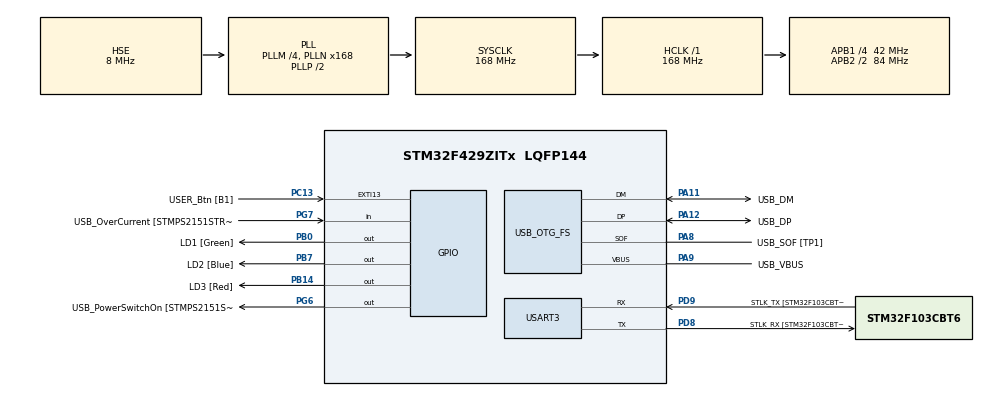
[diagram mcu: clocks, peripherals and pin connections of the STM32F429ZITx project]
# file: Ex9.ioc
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Mcu.Family=STM32F4
Mcu.Name=STM32F429ZITx
Mcu.Package=LQFP144
NVIC.OTG_FS_IRQn=true\:0\:0\:false\:false\:true\:false\:true\:true
NVIC.PriorityGroup=NVIC_PRIORITYGROUP_4
PA1.GPIO_Label=RMII_REF_CLK [LAN8742A-CZ-TR_REFCLK0]
PA1.Signal=ETH_REF_CLK
PA10.GPIO_Label=USB_ID
PA10.Signal=USB_OTG_FS_ID
PA11.GPIO_Label=USB_DM
PA11.Mode=Device_Only
PA11.Signal=USB_OTG_FS_DM
PA12.GPIO_Label=USB_DP
PA12.Mode=Device_Only
PA12.Signal=USB_OTG_FS_DP
PA13.GPIO_Label=TMS
PA13.Mode=Serial_Wire
PA13.Signal=SYS_JTMS-SWDIO
PA14.GPIO_Label=TCK
PA14.Mode=Serial_Wire
PA14.Signal=SYS_JTCK-SWCLK
PA2.GPIO_Label=RMII_MDIO [LAN8742A-CZ-TR_MDIO]
PA2.Signal=ETH_MDIO
PA7.GPIO_Label=RMII_CRS_DV [LAN8742A-CZ-TR_CRS_DV]
PA7.Signal=ETH_CRS_DV
PA8.GPIO_Label=USB_SOF [TP1]
PA8.Mode=Activate_SOF_FS
PA8.Signal=USB_OTG_FS_SOF
PA9.GPIO_Label=USB_VBUS
PA9.Mode=Activate_VBUS
PA9.Signal=USB_OTG_FS_VBUS
PB0.GPIO_Label=LD1 [Green]
PB0.Signal=GPIO_Output
PB13.GPIO_Label=RMII_TXD1 [LAN8742A-CZ-TR_TXD1]
PB13.Signal=ETH_TXD1
PB14.GPIO_Label=LD3 [Red]
PB14.Signal=GPIO_Output
PB7.GPIO_Label=LD2 [Blue]
PB7.Signal=GPIO_Output
PC1.GPIO_Label=RMII_MDC [LAN8742A-CZ-TR_MDC]
PC1.Signal=ETH_MDC
PC13.GPIO_Label=USER_Btn [B1]
PC13.Signal=GPXTI13
PC14/OSC32_IN.Mode=LSE-External-Oscillator
PC14/OSC32_IN.Signal=RCC_OSC32_IN
PC15/OSC32_OUT.Mode=LSE-External-Oscillator
PC15/OSC32_OUT.Signal=RCC_OSC32_OUT
PC4.GPIO_Label=RMII_RXD0 [LAN8742A-CZ-TR_RXD0]
PC4.Signal=ETH_RXD0
PC5.GPIO_Label=RMII_RXD1 [LAN8742A-CZ-TR_RXD1]
PC5.Signal=ETH_RXD1
PD8.GPIO_Label=STLK_RX [STM32F103CBT6_PA3]
PD8.Mode=Asynchronous
PD8.Signal=USART3_TX
PD9.GPIO_Label=STLK_TX [STM32F103CBT6_PA2]
PD9.Mode=Asynchronous
PD9.Signal=USART3_RX
PG11.GPIO_Label=RMII_TX_EN [LAN8742A-CZ-TR_TXEN]
PG11.Signal=ETH_TX_EN
PG13.GPIO_Label=RMII_TXD0 [LAN8742A-CZ-TR_TXD0]
PG13.Signal=ETH_TXD0
PG6.GPIO_Label=USB_PowerSwitchOn [STMPS2151STR_EN]
PG6.Signal=GPIO_Output
PG7.GPIO_Label=USB_OverCurrent [STMPS2151STR_FAULT]
PG7.Signal=GPIO_Input
PH0/OSC_IN.GPIO_Label=MCO [STM32F103CBT6_PA8]
PH0/OSC_IN.Mode=HSE-External-Clock-Source
PH0/OSC_IN.Signal=RCC_OSC_IN
PH1/OSC_OUT.Mode=HSE-External-Clock-Source
PH1/OSC_OUT.Signal=RCC_OSC_OUT
ProjectManager.HeapSize=0x200
ProjectManager.StackSize=0x400
ProjectManager.TargetToolchain=STM32CubeIDE
RCC.48MHZClocksFreq_Value=48000000
RCC.AHBFreq_Value=168000000
RCC.APB1CLKDivider=RCC_HCLK_DIV4
RCC.APB1Freq_Value=42000000
RCC.APB1TimFreq_Value=84000000
RCC.APB2CLKDivider=RCC_HCLK_DIV2
RCC.APB2Freq_Value=84000000
RCC.APB2TimCLKDivider=2
RCC.APB2TimFreq_Value=168000000
RCC.CortexFreq_Value=168000000
RCC.HCLKFreq_Value=168000000
RCC.HSE_VALUE=8000000
RCC.HSI_VALUE=16000000
RCC.PLLM=4
RCC.PLLMUL=RCC_PLL_MUL9
RCC.PLLN=168
RCC.PLLQ=7
RCC.PRESCALERUSB=RCC_USBCLKSOURCE_PLL_DIV1_5
RCC.SYSCLKFreq_VALUE=168000000
RCC.SYSCLKSource=RCC_SYSCLKSOURCE_PLLCLK
RCC.SYSCLKSourceVirtual=RCC_SYSCLKSOURCE_PLLCLK
RCC.USBFreq_Value=48000000
RCC.VCOOutputFreq_Value=336000000
USART3.VirtualMode=VM_ASYNC
USB_DEVICE.CLASS_NAME_FS=HID
USB_DEVICE.VirtualMode-HID_FS=Hid
USB_DEVICE.VirtualModeFS=Hid_FS
USB_OTG_FS.VirtualMode=Device_Only
VP_USB_DEVICE_VS_USB_DEVICE_HID_FS.Mode=HID_FS
board=NUCLEO-F429ZI

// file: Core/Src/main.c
/* USER CODE BEGIN Header */
/**
  ******************************************************************************
  * @file           : main.c
  * @brief          : Main program body
  ******************************************************************************
  * @attention
  *
  * Copyright (c) 2023 STMicroelectronics.
  * All rights reserved.
  *
  * This software is licensed under terms that can be found in the LICENSE file
  * in the root directory of this software component.
  * If no LICENSE file comes with this software, it is provided AS-IS.
  *
  ******************************************************************************
  */
/* USER CODE END Header */
#include "main.h"
#include "usb_device.h"

/* USER CODE BEGIN Includes */
#include "usbd_hid.h"
#include <math.h>
/* USER CODE END Includes */

UART_HandleTypeDef huart3;

/* USER CODE BEGIN PV */
extern USBD_HandleTypeDef hUsbDeviceFS;
/* USER CODE END PV */

void SystemClock_Config(void);
static void MX_GPIO_Init(void);
static void MX_USART3_UART_Init(void);

/* USER CODE BEGIN 0 */

static void PressBtn() {
	uint8_t buff[4];
	buff[0] = 0x01; // Press button (0x01 = left)
	buff[1] = 0;
	buff[2] = 0;
	buff[3] = 0; // Scroll
	USBD_HID_SendReport(&hUsbDeviceFS, buff, sizeof(buff));
	HAL_Delay(USBD_HID_GetPollingInterval(&hUsbDeviceFS));
}

/*
static void DrawLine(int8_t x, int8_t y) {
	uint8_t buff[4];
	buff[0] = 0; // Press button (0x01 = left)
	buff[1] = (int8_t)(x); // X Position
	buff[2] = (int8_t)(y); // Y Position
	buff[3] = 0; // Scroll
	USBD_HID_SendReport(&hUsbDeviceFS, buff, sizeof(buff));
	HAL_Delay(USBD_HID_GetPollingInterval(&hUsbDeviceFS));
}
*/

static void MoveCursor(int8_t x, int8_t y) {
	uint8_t buff[4];
	buff[0] = 0;
	buff[1] = (int8_t)(x);
	buff[2] = (int8_t)(y);
	buff[3] = 0;
	USBD_HID_SendReport(&hUsbDeviceFS, buff, sizeof(buff));
	HAL_Delay(USBD_HID_GetPollingInterval(&hUsbDeviceFS));
}

static void DrawCircle(int8_t r) {
	for (uint8_t i = 0; i <= 60; i++) {
		uint16_t step = 6 * i;
		float x = (r * cos(step * M_PI/180));
		float y = (r * sin(step * M_PI/180));

		uint8_t buff[4];
		buff[0] = 0x01; // stiskni leve tlacitko
		buff[1] = (int8_t)x;
		buff[2] = (int8_t)y;
		buff[3] = 0; // bez scrollu
		USBD_HID_SendReport(&hUsbDeviceFS, buff, sizeof(buff));
		HAL_Delay(USBD_HID_GetPollingInterval(&hUsbDeviceFS));
	}
}

static void DrawSmile(int8_t r) {
	for (uint8_t i = 0; i <= 29; i++) {
		uint16_t step = 90 + 6*i;
		float x = (r * cos(step * M_PI/180));
		float y = (r * sin(step * M_PI/180));

		uint8_t buff[4];
		buff[0] = 0x01; // stiskni leve tlacitko
		buff[1] = (int8_t)x;
		buff[2] = (int8_t)y;
		buff[3] = 0; // bez scrollu
		USBD_HID_SendReport(&hUsbDeviceFS, buff, sizeof(buff));
		HAL_Delay(USBD_HID_GetPollingInterval(&hUsbDeviceFS));
	}
}

static void ReleaseBtn() {
	uint8_t buff[4];
	buff[0] = 0; // Empty buffer causes release
	buff[1] = 0;
	buff[2] = 0;
	buff[3] = 0;
	USBD_HID_SendReport(&hUsbDeviceFS, buff, sizeof(buff));
	HAL_Delay(USBD_HID_GetPollingInterval(&hUsbDeviceFS));
}

static void DrawSmiley() {
	DrawCircle(8); // Head
	ReleaseBtn();
	MoveCursor(-14,60); // Move
	PressBtn();
	MoveCursor(0,40); // Nose
	ReleaseBtn();
	PressBtn();
	MoveCursor(20,0); // Nose
	ReleaseBtn();
	PressBtn();
	MoveCursor(0,-40); // Nose
	ReleaseBtn();
	MoveCursor(30,-20); // Move
	DrawCircle(3); // Right Eye
	ReleaseBtn();
	MoveCursor(-86,0); // Move
	DrawCircle(3); // Left Eye
	ReleaseBtn();
	MoveCursor(70,50); // Move
	DrawSmile(4); // Mouth
	ReleaseBtn();
}

/* USER CODE END 0 */

int main(void)
{

  /* MCU Configuration--------------------------------------------------------*/

  /* Reset of all peripherals, Initializes the Flash interface and the Systick. */
  HAL_Init();

  /* Configure the system clock */
  SystemClock_Config();

  /* Initialize all configured peripherals */
  MX_GPIO_Init();
  MX_USART3_UART_Init();
  MX_USB_DEVICE_Init();

  /* Infinite loop */
  while (1)
  {
	  if (HAL_GPIO_ReadPin(USER_Btn_GPIO_Port, USER_Btn_Pin)) {
		  DrawSmiley();
	  }

  }
}

void SystemClock_Config(void)
{
  RCC_OscInitTypeDef RCC_OscInitStruct = {0};
  RCC_ClkInitTypeDef RCC_ClkInitStruct = {0};

  /** Configure the main internal regulator output voltage
  */
  __HAL_RCC_PWR_CLK_ENABLE();
  __HAL_PWR_VOLTAGESCALING_CONFIG(PWR_REGULATOR_VOLTAGE_SCALE1);

  /** Initializes the RCC Oscillators according to the specified parameters
  * in the RCC_OscInitTypeDef structure.
  */
  RCC_OscInitStruct.OscillatorType = RCC_OSCILLATORTYPE_HSE;
  RCC_OscInitStruct.HSEState = RCC_HSE_BYPASS;
  RCC_OscInitStruct.PLL.PLLState = RCC_PLL_ON;
  RCC_OscInitStruct.PLL.PLLSource = RCC_PLLSOURCE_HSE;
  RCC_OscInitStruct.PLL.PLLM = 4;
  RCC_OscInitStruct.PLL.PLLN = 168;
  RCC_OscInitStruct.PLL.PLLP = RCC_PLLP_DIV2;
  RCC_OscInitStruct.PLL.PLLQ = 7;
  if (HAL_RCC_OscConfig(&RCC_OscInitStruct) != HAL_OK)
  {
    Error_Handler();
  }

  /** Initializes the CPU, AHB and APB buses clocks
  */
  RCC_ClkInitStruct.ClockType = RCC_CLOCKTYPE_HCLK|RCC_CLOCKTYPE_SYSCLK
                              |RCC_CLOCKTYPE_PCLK1|RCC_CLOCKTYPE_PCLK2;
  RCC_ClkInitStruct.SYSCLKSource = RCC_SYSCLKSOURCE_PLLCLK;
  RCC_ClkInitStruct.AHBCLKDivider = RCC_SYSCLK_DIV1;
  RCC_ClkInitStruct.APB1CLKDivider = RCC_HCLK_DIV4;
  RCC_ClkInitStruct.APB2CLKDivider = RCC_HCLK_DIV2;

  if (HAL_RCC_ClockConfig(&RCC_ClkInitStruct, FLASH_LATENCY_5) != HAL_OK)
  {
    Error_Handler();
  }
}

static void MX_USART3_UART_Init(void)
{

  huart3.Instance = USART3;
  huart3.Init.BaudRate = 115200;
  huart3.Init.WordLength = UART_WORDLENGTH_8B;
  huart3.Init.StopBits = UART_STOPBITS_1;
  huart3.Init.Parity = UART_PARITY_NONE;
  huart3.Init.Mode = UART_MODE_TX_RX;
  huart3.Init.HwFlowCtl = UART_HWCONTROL_NONE;
  huart3.Init.OverSampling = UART_OVERSAMPLING_16;
  if (HAL_UART_Init(&huart3) != HAL_OK)
  {
    Error_Handler();
  }

}

static void MX_GPIO_Init(void)
{
  GPIO_InitTypeDef GPIO_InitStruct = {0};

  /* GPIO Ports Clock Enable */
  __HAL_RCC_GPIOC_CLK_ENABLE();
  __HAL_RCC_GPIOH_CLK_ENABLE();
  __HAL_RCC_GPIOA_CLK_ENABLE();
  __HAL_RCC_GPIOB_CLK_ENABLE();
  __HAL_RCC_GPIOD_CLK_ENABLE();
  __HAL_RCC_GPIOG_CLK_ENABLE();

  /*Configure GPIO pin Output Level */
  HAL_GPIO_WritePin(GPIOB, LD1_Pin|LD3_Pin|LD2_Pin, GPIO_PIN_RESET);

  /*Configure GPIO pin Output Level */
  HAL_GPIO_WritePin(USB_PowerSwitchOn_GPIO_Port, USB_PowerSwitchOn_Pin, GPIO_PIN_RESET);

  /*Configure GPIO pin : USER_Btn_Pin */
  GPIO_InitStruct.Pin = USER_Btn_Pin;
  GPIO_InitStruct.Mode = GPIO_MODE_IT_RISING;
  GPIO_InitStruct.Pull = GPIO_NOPULL;
  HAL_GPIO_Init(USER_Btn_GPIO_Port, &GPIO_InitStruct);

  /*Configure GPIO pins : RMII_MDC_Pin RMII_RXD0_Pin RMII_RXD1_Pin */
  GPIO_InitStruct.Pin = RMII_MDC_Pin|RMII_RXD0_Pin|RMII_RXD1_Pin;
  GPIO_InitStruct.Mode = GPIO_MODE_AF_PP;
  GPIO_InitStruct.Pull = GPIO_NOPULL;
  GPIO_InitStruct.Speed = GPIO_SPEED_FREQ_VERY_HIGH;
  GPIO_InitStruct.Alternate = GPIO_AF11_ETH;
  HAL_GPIO_Init(GPIOC, &GPIO_InitStruct);

  /*Configure GPIO pins : RMII_REF_CLK_Pin RMII_MDIO_Pin RMII_CRS_DV_Pin */
  GPIO_InitStruct.Pin = RMII_REF_CLK_Pin|RMII_MDIO_Pin|RMII_CRS_DV_Pin;
  GPIO_InitStruct.Mode = GPIO_MODE_AF_PP;
  GPIO_InitStruct.Pull = GPIO_NOPULL;
  GPIO_InitStruct.Speed = GPIO_SPEED_FREQ_VERY_HIGH;
  GPIO_InitStruct.Alternate = GPIO_AF11_ETH;
  HAL_GPIO_Init(GPIOA, &GPIO_InitStruct);

  /*Configure GPIO pins : LD1_Pin LD3_Pin LD2_Pin */
  GPIO_InitStruct.Pin = LD1_Pin|LD3_Pin|LD2_Pin;
  GPIO_InitStruct.Mode = GPIO_MODE_OUTPUT_PP;
  GPIO_InitStruct.Pull = GPIO_NOPULL;
  GPIO_InitStruct.Speed = GPIO_SPEED_FREQ_LOW;
  HAL_GPIO_Init(GPIOB, &GPIO_InitStruct);

  /*Configure GPIO pin : RMII_TXD1_Pin */
  GPIO_InitStruct.Pin = RMII_TXD1_Pin;
  GPIO_InitStruct.Mode = GPIO_MODE_AF_PP;
  GPIO_InitStruct.Pull = GPIO_NOPULL;
  GPIO_InitStruct.Speed = GPIO_SPEED_FREQ_VERY_HIGH;
  GPIO_InitStruct.Alternate = GPIO_AF11_ETH;
  HAL_GPIO_Init(RMII_TXD1_GPIO_Port, &GPIO_InitStruct);

  /*Configure GPIO pin : USB_PowerSwitchOn_Pin */
  GPIO_InitStruct.Pin = USB_PowerSwitchOn_Pin;
  GPIO_InitStruct.Mode = GPIO_MODE_OUTPUT_PP;
  GPIO_InitStruct.Pull = GPIO_NOPULL;
  GPIO_InitStruct.Speed = GPIO_SPEED_FREQ_LOW;
  HAL_GPIO_Init(USB_PowerSwitchOn_GPIO_Port, &GPIO_InitStruct);

  /*Configure GPIO pin : USB_OverCurrent_Pin */
  GPIO_InitStruct.Pin = USB_OverCurrent_Pin;
  GPIO_InitStruct.Mode = GPIO_MODE_INPUT;
  GPIO_InitStruct.Pull = GPIO_NOPULL;
  HAL_GPIO_Init(USB_OverCurrent_GPIO_Port, &GPIO_InitStruct);

  /*Configure GPIO pins : RMII_TX_EN_Pin RMII_TXD0_Pin */
  GPIO_InitStruct.Pin = RMII_TX_EN_Pin|RMII_TXD0_Pin;
  GPIO_InitStruct.Mode = GPIO_MODE_AF_PP;
  GPIO_InitStruct.Pull = GPIO_NOPULL;
  GPIO_InitStruct.Speed = GPIO_SPEED_FREQ_VERY_HIGH;
  GPIO_InitStruct.Alternate = GPIO_AF11_ETH;
  HAL_GPIO_Init(GPIOG, &GPIO_InitStruct);

}

void Error_Handler(void)
{
  __disable_irq();
  while (1)
  {
  }
}
